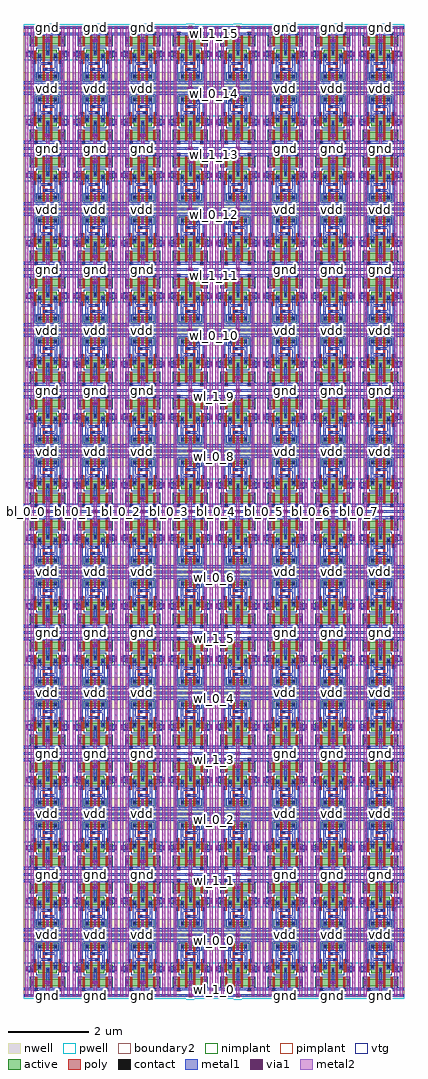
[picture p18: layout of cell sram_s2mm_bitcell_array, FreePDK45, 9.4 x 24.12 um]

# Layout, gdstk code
import gdstk
lib = gdstk.Library(unit=1e-6, precision=5e-10)
def R(c, l, rs):  # rectangles x0, y0, x1, y1
    for r in rs: c.add(gdstk.rectangle(r[:2], r[2:], *l))
def A(c, l, x, y, w, h, nx, ny, dx, dy):  # array of equal rectangles
    R(c, l, [(x+i*dx, y+j*dy, x+i*dx+w, y+j*dy+h) for i in range(nx) for j in range(ny)])
active = (1, 0)
pwell = (2, 0)
nwell = (3, 0)
nimplant = (4, 0)
pimplant = (5, 0)
vtg = (6, 0)
poly = (9, 0)
contact = (10, 0)
metal1 = (11, 0)
via1 = (12, 0)
metal2 = (13, 0)
boundary2 = (239, 0)

cell_2rw = lib.new_cell('cell_2rw')
R(cell_2rw, active, [(0.545,-0.045,0.635,0.045), (0.165,0.2325,0.22,0.4125), (0.2075,0.2325,0.2775,0.4125), (0.2075,0.2325,0.3975,0.4125), (0.3275,0.2325,0.3975,0.4125), (0.3975,0.2325,0.4675,0.4125), (0.3975,0.2325,0.5875,0.4125), (0.5175,0.2325,0.5875,0.4125), (0.5525,0.2325,0.6275,0.4125), (0.5525,0.2325,0.6275,0.4125), (0.5525,0.2325,0.7775,0.4125), (0.7075,0.2325,0.7775,0.4125), (0.7775,0.2325,0.8475,0.4125), (0.7775,0.2325,0.9675,0.4125), (0.8975,0.2325,0.9675,0.4125), (0.955,0.2325,1.01,0.4125), (0.165,0.2775,0.255,0.3675), (0.92,0.2775,1.01,0.3675), (0.5525,0.2875,0.6275,0.3625), (0.3625,0.5525,0.4375,0.7575), (0.3625,0.5525,0.4375,0.7575), (0.3625,0.5525,0.5875,0.7575), (0.5175,0.5525,0.5875,0.7575), (0.5875,0.5525,0.6575,0.7575), (0.5875,0.5525,0.8125,0.7575), (0.7375,0.5525,0.8125,0.7575), (0.7375,0.5525,0.8125,0.7575), (0.545,0.5725,0.635,0.6625), (0.1575,0.6225,0.2325,0.6975), (0.1575,0.6225,0.2325,0.7575), (0.1575,0.6225,0.2325,0.7575), (0.1575,0.6225,0.3825,0.7575), (0.3125,0.6225,0.3825,0.7575), (0.7925,0.6225,0.8625,0.7575), (0.7925,0.6225,1.0175,0.7575), (0.9425,0.6225,1.0175,0.6975), (0.9425,0.6225,1.0175,0.7575), (0.9425,0.6225,1.0175,0.7575), (0.3625,0.6825,0.4375,0.7575), (0.7375,0.6825,0.8125,0.7575), (0.3625,1.1625,0.4375,1.2375), (0.3625,1.1625,0.4375,1.2525), (0.3625,1.1625,0.4375,1.2525), (0.3625,1.1625,0.6225,1.2525), (0.5475,1.1625,0.6225,1.2375), (0.5475,1.1625,0.6225,1.2525), (0.5475,1.1625,0.6225,1.2525), (0.5875,1.1625,0.6575,1.2525), (0.5875,1.1625,0.8125,1.2525), (0.7375,1.1625,0.8125,1.2375), (0.7375,1.1625,0.8125,1.2525), (0.7375,1.1625,0.8125,1.2525), (0.54,1.45,0.63,1.54)])
R(cell_2rw, pwell, [(0.49,-0.1,0.69,0.1), (0,-0.085,1.175,0.8125), (0.1525,0.1775,0.4525,0.4675), (0.3425,0.1775,0.6425,0.4675), (0.4975,0.1775,0.8325,0.4675), (0.7225,0.1775,1.0225,0.4675), (0.3075,0.4975,0.6425,0.8125), (0.5325,0.4975,0.8675,0.8125), (0.1025,0.5675,0.4375,0.8125), (0.7375,0.5675,1.0725,0.8125)])
R(cell_2rw, nwell, [(0,1.1075,1.175,1.595), (0.3075,1.1075,0.6775,1.3075), (0.5325,1.1075,0.8675,1.3075), (0.485,1.395,0.685,1.595)])
R(cell_2rw, nimplant, [(0.165,0.2325,0.22,0.4125), (0.2075,0.2325,0.3975,0.4125), (0.3975,0.2325,0.5875,0.4125), (0.5525,0.2325,0.7775,0.4125), (0.7775,0.2325,0.9675,0.4125), (0.955,0.2325,1.01,0.4125), (0.165,0.2775,0.255,0.3675), (0.92,0.2775,1.01,0.3675), (0.3625,0.5525,0.5875,0.7575), (0.5875,0.5525,0.8125,0.7575), (0.545,0.5725,0.635,0.6625), (0.1575,0.6225,0.3825,0.7575), (0.7925,0.6225,1.0175,0.7575), (0.54,1.45,0.63,1.54)])
R(cell_2rw, pimplant, [(0.545,-0.045,0.635,0.045), (0.3625,1.1625,0.6225,1.2525), (0.5875,1.1625,0.8125,1.2525)])
R(cell_2rw, vtg, [(0.1525,0.1775,0.4525,0.4675), (0.3425,0.1775,0.6425,0.4675), (0.4975,0.1775,0.8325,0.4675), (0.7225,0.1775,1.0225,0.4675), (0.3075,0.4975,0.6425,0.8125), (0.5325,0.4975,0.8675,0.8125), (0.1025,0.5675,0.4375,0.8125), (0.7375,0.5675,1.0725,0.8125), (0.3075,1.1075,0.6775,1.3075), (0.5325,1.1075,0.8675,1.3075)])
A(cell_2rw, poly, 0.2775, 0.1775, 0.05, 0.055, 4, 2, 0.19, 0.235)
A(cell_2rw, poly, 0.2775, 0.1775, 0.05, 0.29, 4, 1, 0.19, 0)
R(cell_2rw, poly, [(0.265,0.1075,0.34,0.1825), (0.835,0.1075,0.91,0.1825), (0.6575,0.44,0.7075,0.525), (0.4675,0.45,0.5175,0.525), (0.4675,0.4975,0.5175,0.8125), (0.4675,0.4975,0.5175,0.5525), (0.6575,0.4975,0.7075,0.8125), (0.6575,0.4975,0.7075,0.5525), (0.2625,0.5675,0.3125,0.6225), (0.2625,0.5675,0.3125,0.8125), (0.8625,0.5675,0.9125,0.6225), (0.8625,0.5675,0.9125,0.8125), (0.4675,0.7225,0.5175,1.135), (0.6575,0.7225,0.7075,1.135), (0.2625,0.7575,0.3125,0.8125), (0.4675,0.7575,0.5175,0.8125), (0.6575,0.7575,0.7075,0.8125), (0.8625,0.7575,0.9125,0.8125), (0.2625,0.8,0.3125,0.8975), (0.8625,0.8,0.9125,0.8975), (0.2125,0.8225,0.2875,0.8975), (0.8875,0.8225,0.9625,0.8975), (0.5925,0.8475,0.6675,0.9225), (0.5075,0.9975,0.5825,1.0725), (0.4675,1.1075,0.5175,1.1625), (0.4675,1.1075,0.5175,1.3075), (0.6575,1.1075,0.7075,1.1625), (0.6575,1.1075,0.7075,1.3075), (0.4675,1.2525,0.5175,1.3075), (0.6575,1.2525,0.7075,1.3075)])
R(cell_2rw, contact, [(0.5575,-0.0325,0.6225,0.0325), (0.27,0.1125,0.335,0.1775), (0.84,0.1125,0.905,0.1775), (0.1775,0.29,0.2425,0.355), (0.9325,0.29,0.9975,0.355), (0.5575,0.2925,0.6225,0.3575), (0.5575,0.585,0.6225,0.65), (0.1625,0.6275,0.2275,0.6925), (0.9475,0.6275,1.0125,0.6925), (0.3675,0.6875,0.4325,0.7525), (0.7425,0.6875,0.8075,0.7525), (0.2175,0.8275,0.2825,0.8925), (0.8925,0.8275,0.9575,0.8925), (0.5975,0.8525,0.6625,0.9175), (0.5125,1.0025,0.5775,1.0675), (0.3675,1.1675,0.4325,1.2325), (0.5525,1.1675,0.6175,1.2325), (0.7425,1.1675,0.8075,1.2325), (0.5525,1.4625,0.6175,1.5275)])
R(cell_2rw, metal1, [(0,-0.0325,1.175,0.0325), (0,-0.0325,1.175,0.0325), (0.235,0.1125,0.37,0.1775), (0.805,0.1125,0.94,0.1775), (0,0.1225,1.175,0.1875), (0,0.1225,1.175,0.1875), (0.1775,0.255,0.2425,0.39), (0.1775,0.255,0.2425,0.39), (0.9325,0.255,0.9975,0.39), (0.9325,0.255,0.9975,0.39), (0.5575,0.2575,0.6225,0.615), (0.5575,0.55,0.6225,0.685), (0.0375,0.5925,0.1025,0.7275), (0.0375,0.5925,0.2275,0.7275), (0.1625,0.5925,0.2275,0.7275), (0.9475,0.5925,1.0125,0.7275), (0.9475,0.5925,1.1375,0.7275), (1.0725,0.5925,1.1375,0.7275), (0.3475,0.6525,0.4125,1.2675), (0.3675,0.6525,0.4325,0.7875), (0.7425,0.6525,0.8075,0.7875), (0.7625,0.6525,0.8275,1.2675), (0.2175,0.7925,0.2825,0.9275), (0.8925,0.7925,0.9575,0.9275), (0.3675,0.8525,0.5825,0.9175), (0.5625,0.8525,0.6975,0.9175), (0.2175,0.895,0.2825,1.385), (0.8925,0.895,0.9575,1.385), (0.4775,1.0025,0.6125,1.0675), (0.5925,1.0025,0.8275,1.0675), (0.3675,1.1325,0.4325,1.2675), (0.5525,1.1325,0.6175,1.2675), (0.5525,1.1325,0.6175,1.2675), (0.7425,1.1325,0.8075,1.2675), (0,1.3325,1.175,1.3975), (0,1.3325,1.175,1.3975), (0,1.4625,1.175,1.5275), (0,1.4625,1.175,1.5275)])
R(cell_2rw, via1, [(0.5575,-0.0325,0.6225,0.0325), (0.1775,0.29,0.2425,0.355), (0.9325,0.29,0.9975,0.355), (0.5575,0.2925,0.6225,0.3575), (0.0375,0.6275,0.1025,0.6925), (1.0725,0.6275,1.1375,0.6925), (0.5525,1.1675,0.6175,1.2325), (0.5525,1.4625,0.6175,1.5275)])
R(cell_2rw, metal2, [(0.5225,-0.035,0.6575,0.035), (0.035,-0.015,0.105,1.56), (0.035,-0.015,0.105,1.56), (0.175,-0.015,0.245,1.56), (0.175,-0.015,0.245,1.56), (0.93,-0.015,1,1.56), (0.93,-0.015,1,1.56), (1.07,-0.015,1.14,1.56), (1.07,-0.015,1.14,1.56), (0.555,0.005,0.625,0.29), (0.175,0.255,0.245,0.39), (0.93,0.255,1,0.39), (0.5225,0.29,0.6575,0.36), (0.035,0.5925,0.105,0.7275), (1.07,0.5925,1.14,0.7275), (0.55,1.1325,0.62,1.2675), (1.0875,1.1375,1.1325,1.1725), (0.9525,1.145,0.985,1.175), (0.1925,1.155,0.23,1.18), (0.0475,1.1575,0.09,1.185), (0.55,1.1575,0.62,1.5275), (0.5175,1.46,0.6525,1.53)])
R(cell_2rw, boundary2, [(0,0,1.175,1.495)])
cell_2rw.add(gdstk.Label('gnd', (0.59,0), layer=11, texttype=0))
cell_2rw.add(gdstk.Label('wl1', (0.135,0.1425), layer=11, texttype=0))
cell_2rw.add(gdstk.Label('wl0', (0.14,1.355), layer=11, texttype=0))
cell_2rw.add(gdstk.Label('vdd', (0.585,1.495), layer=11, texttype=0))
cell_2rw.add(gdstk.Label('br0', (1.1075,1.1575), layer=13, texttype=0))
cell_2rw.add(gdstk.Label('br1', (0.9675,1.1625), layer=13, texttype=0))
cell_2rw.add(gdstk.Label('bl1', (0.205,1.1725), layer=13, texttype=0))
cell_2rw.add(gdstk.Label('bl0', (0.07,1.1725), layer=13, texttype=0))
cell_2rw.add(gdstk.Label('bl0', (0.07,0.7725), layer=13, texttype=0))
cell_2rw.add(gdstk.Label('br0', (1.105,0.7725), layer=13, texttype=0))
cell_2rw.add(gdstk.Label('bl1', (0.21,0.7725), layer=13, texttype=0))
cell_2rw.add(gdstk.Label('br1', (0.965,0.7725), layer=13, texttype=0))
cell_2rw.add(gdstk.Label('wl0', (0.5875,1.365), layer=11, texttype=0))
cell_2rw.add(gdstk.Label('wl1', (0.5875,0.155), layer=11, texttype=0))
cell_2rw.add(gdstk.Label('vdd', (0.5875,1.495), layer=11, texttype=0))
cell_2rw.add(gdstk.Label('gnd', (0.5875,0), layer=11, texttype=0))

sram_s2mm_bitcell_array = lib.new_cell('sram_s2mm_bitcell_array')
A(sram_s2mm_bitcell_array, metal1, 0, -0.0325, 1.175, 0.065, 8, 17, 1.175, 1.495)
R(sram_s2mm_bitcell_array, metal1, [(0,0.1225,9.4,0.1875), (0,1.3325,9.4,1.3975), (0,1.5925,9.4,1.6575), (0,2.8025,9.4,2.8675), (0,3.1125,9.4,3.1775), (0,4.3225,9.4,4.3875), (0,4.5825,9.4,4.6475), (0,5.7925,9.4,5.8575), (0,6.1025,9.4,6.1675), (0,7.3125,9.4,7.3775), (0,7.5725,9.4,7.6375), (0,8.7825,9.4,8.8475), (0,9.0925,9.4,9.1575), (0,10.3025,9.4,10.3675), (0,10.5625,9.4,10.6275), (0,11.7725,9.4,11.8375), (0,12.0825,9.4,12.1475), (0,13.2925,9.4,13.3575), (0,13.5525,9.4,13.6175), (0,14.7625,9.4,14.8275), (0,15.0725,9.4,15.1375), (0,16.2825,9.4,16.3475), (0,16.5425,9.4,16.6075), (0,17.7525,9.4,17.8175), (0,18.0625,9.4,18.1275), (0,19.2725,9.4,19.3375), (0,19.5325,9.4,19.5975), (0,20.7425,9.4,20.8075), (0,21.0525,9.4,21.1175), (0,22.2625,9.4,22.3275), (0,22.5225,9.4,22.5875), (0,23.7325,9.4,23.7975)])
A(sram_s2mm_bitcell_array, metal2, 0.93, 0, 0.07, 23.92, 4, 1, 0.14, 0)
A(sram_s2mm_bitcell_array, metal2, 2.105, 0, 0.07, 23.92, 4, 1, 0.14, 0)
A(sram_s2mm_bitcell_array, metal2, 3.28, 0, 0.07, 23.92, 4, 1, 0.14, 0)
A(sram_s2mm_bitcell_array, metal2, 4.455, 0, 0.07, 23.92, 4, 1, 0.14, 0)
A(sram_s2mm_bitcell_array, metal2, 5.63, 0, 0.07, 23.92, 4, 1, 0.14, 0)
A(sram_s2mm_bitcell_array, metal2, 6.805, 0, 0.07, 23.92, 4, 1, 0.14, 0)
A(sram_s2mm_bitcell_array, metal2, 7.98, 0, 0.07, 23.92, 4, 1, 0.14, 0)
R(sram_s2mm_bitcell_array, metal2, [(0.035,0,0.105,23.92), (0.175,0,0.245,23.92), (9.155,0,9.225,23.92), (9.295,0,9.365,23.92)])
R(sram_s2mm_bitcell_array, boundary2, [(0,0,9.4,23.92)])
sram_s2mm_bitcell_array.add(gdstk.Reference(cell_2rw, (0,0)))
sram_s2mm_bitcell_array.add(gdstk.Reference(cell_2rw, (0,2.99), x_reflection=True))
sram_s2mm_bitcell_array.add(gdstk.Reference(cell_2rw, (0,2.99)))
sram_s2mm_bitcell_array.add(gdstk.Reference(cell_2rw, (0,5.98), x_reflection=True))
sram_s2mm_bitcell_array.add(gdstk.Reference(cell_2rw, (0,5.98)))
sram_s2mm_bitcell_array.add(gdstk.Reference(cell_2rw, (0,8.97), x_reflection=True))
sram_s2mm_bitcell_array.add(gdstk.Reference(cell_2rw, (0,8.97)))
sram_s2mm_bitcell_array.add(gdstk.Reference(cell_2rw, (0,11.96), x_reflection=True))
sram_s2mm_bitcell_array.add(gdstk.Reference(cell_2rw, (0,11.96)))
sram_s2mm_bitcell_array.add(gdstk.Reference(cell_2rw, (0,14.95), x_reflection=True))
sram_s2mm_bitcell_array.add(gdstk.Reference(cell_2rw, (0,14.95)))
sram_s2mm_bitcell_array.add(gdstk.Reference(cell_2rw, (0,17.94), x_reflection=True))
sram_s2mm_bitcell_array.add(gdstk.Reference(cell_2rw, (0,17.94)))
sram_s2mm_bitcell_array.add(gdstk.Reference(cell_2rw, (0,20.93), x_reflection=True))
sram_s2mm_bitcell_array.add(gdstk.Reference(cell_2rw, (0,20.93)))
sram_s2mm_bitcell_array.add(gdstk.Reference(cell_2rw, (0,23.92), x_reflection=True))
sram_s2mm_bitcell_array.add(gdstk.Reference(cell_2rw, (1.175,0)))
sram_s2mm_bitcell_array.add(gdstk.Reference(cell_2rw, (1.175,2.99), x_reflection=True))
sram_s2mm_bitcell_array.add(gdstk.Reference(cell_2rw, (1.175,2.99)))
sram_s2mm_bitcell_array.add(gdstk.Reference(cell_2rw, (1.175,5.98), x_reflection=True))
sram_s2mm_bitcell_array.add(gdstk.Reference(cell_2rw, (1.175,5.98)))
sram_s2mm_bitcell_array.add(gdstk.Reference(cell_2rw, (1.175,8.97), x_reflection=True))
sram_s2mm_bitcell_array.add(gdstk.Reference(cell_2rw, (1.175,8.97)))
sram_s2mm_bitcell_array.add(gdstk.Reference(cell_2rw, (1.175,11.96), x_reflection=True))
sram_s2mm_bitcell_array.add(gdstk.Reference(cell_2rw, (1.175,11.96)))
sram_s2mm_bitcell_array.add(gdstk.Reference(cell_2rw, (1.175,14.95), x_reflection=True))
sram_s2mm_bitcell_array.add(gdstk.Reference(cell_2rw, (1.175,14.95)))
sram_s2mm_bitcell_array.add(gdstk.Reference(cell_2rw, (1.175,17.94), x_reflection=True))
sram_s2mm_bitcell_array.add(gdstk.Reference(cell_2rw, (1.175,17.94)))
sram_s2mm_bitcell_array.add(gdstk.Reference(cell_2rw, (1.175,20.93), x_reflection=True))
sram_s2mm_bitcell_array.add(gdstk.Reference(cell_2rw, (1.175,20.93)))
sram_s2mm_bitcell_array.add(gdstk.Reference(cell_2rw, (1.175,23.92), x_reflection=True))
sram_s2mm_bitcell_array.add(gdstk.Reference(cell_2rw, (2.35,0)))
sram_s2mm_bitcell_array.add(gdstk.Reference(cell_2rw, (2.35,2.99), x_reflection=True))
sram_s2mm_bitcell_array.add(gdstk.Reference(cell_2rw, (2.35,2.99)))
sram_s2mm_bitcell_array.add(gdstk.Reference(cell_2rw, (2.35,5.98), x_reflection=True))
sram_s2mm_bitcell_array.add(gdstk.Reference(cell_2rw, (2.35,5.98)))
sram_s2mm_bitcell_array.add(gdstk.Reference(cell_2rw, (2.35,8.97), x_reflection=True))
sram_s2mm_bitcell_array.add(gdstk.Reference(cell_2rw, (2.35,8.97)))
sram_s2mm_bitcell_array.add(gdstk.Reference(cell_2rw, (2.35,11.96), x_reflection=True))
sram_s2mm_bitcell_array.add(gdstk.Reference(cell_2rw, (2.35,11.96)))
sram_s2mm_bitcell_array.add(gdstk.Reference(cell_2rw, (2.35,14.95), x_reflection=True))
sram_s2mm_bitcell_array.add(gdstk.Reference(cell_2rw, (2.35,14.95)))
sram_s2mm_bitcell_array.add(gdstk.Reference(cell_2rw, (2.35,17.94), x_reflection=True))
sram_s2mm_bitcell_array.add(gdstk.Reference(cell_2rw, (2.35,17.94)))
sram_s2mm_bitcell_array.add(gdstk.Reference(cell_2rw, (2.35,20.93), x_reflection=True))
sram_s2mm_bitcell_array.add(gdstk.Reference(cell_2rw, (2.35,20.93)))
sram_s2mm_bitcell_array.add(gdstk.Reference(cell_2rw, (2.35,23.92), x_reflection=True))
sram_s2mm_bitcell_array.add(gdstk.Reference(cell_2rw, (3.525,0)))
sram_s2mm_bitcell_array.add(gdstk.Reference(cell_2rw, (3.525,2.99), x_reflection=True))
sram_s2mm_bitcell_array.add(gdstk.Reference(cell_2rw, (3.525,2.99)))
sram_s2mm_bitcell_array.add(gdstk.Reference(cell_2rw, (3.525,5.98), x_reflection=True))
sram_s2mm_bitcell_array.add(gdstk.Reference(cell_2rw, (3.525,5.98)))
sram_s2mm_bitcell_array.add(gdstk.Reference(cell_2rw, (3.525,8.97), x_reflection=True))
sram_s2mm_bitcell_array.add(gdstk.Reference(cell_2rw, (3.525,8.97)))
sram_s2mm_bitcell_array.add(gdstk.Reference(cell_2rw, (3.525,11.96), x_reflection=True))
sram_s2mm_bitcell_array.add(gdstk.Reference(cell_2rw, (3.525,11.96)))
sram_s2mm_bitcell_array.add(gdstk.Reference(cell_2rw, (3.525,14.95), x_reflection=True))
sram_s2mm_bitcell_array.add(gdstk.Reference(cell_2rw, (3.525,14.95)))
sram_s2mm_bitcell_array.add(gdstk.Reference(cell_2rw, (3.525,17.94), x_reflection=True))
sram_s2mm_bitcell_array.add(gdstk.Reference(cell_2rw, (3.525,17.94)))
sram_s2mm_bitcell_array.add(gdstk.Reference(cell_2rw, (3.525,20.93), x_reflection=True))
sram_s2mm_bitcell_array.add(gdstk.Reference(cell_2rw, (3.525,20.93)))
sram_s2mm_bitcell_array.add(gdstk.Reference(cell_2rw, (3.525,23.92), x_reflection=True))
sram_s2mm_bitcell_array.add(gdstk.Reference(cell_2rw, (4.7,0)))
sram_s2mm_bitcell_array.add(gdstk.Reference(cell_2rw, (4.7,2.99), x_reflection=True))
sram_s2mm_bitcell_array.add(gdstk.Reference(cell_2rw, (4.7,2.99)))
sram_s2mm_bitcell_array.add(gdstk.Reference(cell_2rw, (4.7,5.98), x_reflection=True))
sram_s2mm_bitcell_array.add(gdstk.Reference(cell_2rw, (4.7,5.98)))
sram_s2mm_bitcell_array.add(gdstk.Reference(cell_2rw, (4.7,8.97), x_reflection=True))
sram_s2mm_bitcell_array.add(gdstk.Reference(cell_2rw, (4.7,8.97)))
sram_s2mm_bitcell_array.add(gdstk.Reference(cell_2rw, (4.7,11.96), x_reflection=True))
sram_s2mm_bitcell_array.add(gdstk.Reference(cell_2rw, (4.7,11.96)))
sram_s2mm_bitcell_array.add(gdstk.Reference(cell_2rw, (4.7,14.95), x_reflection=True))
sram_s2mm_bitcell_array.add(gdstk.Reference(cell_2rw, (4.7,14.95)))
sram_s2mm_bitcell_array.add(gdstk.Reference(cell_2rw, (4.7,17.94), x_reflection=True))
sram_s2mm_bitcell_array.add(gdstk.Reference(cell_2rw, (4.7,17.94)))
sram_s2mm_bitcell_array.add(gdstk.Reference(cell_2rw, (4.7,20.93), x_reflection=True))
sram_s2mm_bitcell_array.add(gdstk.Reference(cell_2rw, (4.7,20.93)))
sram_s2mm_bitcell_array.add(gdstk.Reference(cell_2rw, (4.7,23.92), x_reflection=True))
sram_s2mm_bitcell_array.add(gdstk.Reference(cell_2rw, (5.875,0)))
sram_s2mm_bitcell_array.add(gdstk.Reference(cell_2rw, (5.875,2.99), x_reflection=True))
sram_s2mm_bitcell_array.add(gdstk.Reference(cell_2rw, (5.875,2.99)))
sram_s2mm_bitcell_array.add(gdstk.Reference(cell_2rw, (5.875,5.98), x_reflection=True))
sram_s2mm_bitcell_array.add(gdstk.Reference(cell_2rw, (5.875,5.98)))
sram_s2mm_bitcell_array.add(gdstk.Reference(cell_2rw, (5.875,8.97), x_reflection=True))
sram_s2mm_bitcell_array.add(gdstk.Reference(cell_2rw, (5.875,8.97)))
sram_s2mm_bitcell_array.add(gdstk.Reference(cell_2rw, (5.875,11.96), x_reflection=True))
sram_s2mm_bitcell_array.add(gdstk.Reference(cell_2rw, (5.875,11.96)))
sram_s2mm_bitcell_array.add(gdstk.Reference(cell_2rw, (5.875,14.95), x_reflection=True))
sram_s2mm_bitcell_array.add(gdstk.Reference(cell_2rw, (5.875,14.95)))
sram_s2mm_bitcell_array.add(gdstk.Reference(cell_2rw, (5.875,17.94), x_reflection=True))
sram_s2mm_bitcell_array.add(gdstk.Reference(cell_2rw, (5.875,17.94)))
sram_s2mm_bitcell_array.add(gdstk.Reference(cell_2rw, (5.875,20.93), x_reflection=True))
sram_s2mm_bitcell_array.add(gdstk.Reference(cell_2rw, (5.875,20.93)))
sram_s2mm_bitcell_array.add(gdstk.Reference(cell_2rw, (5.875,23.92), x_reflection=True))
sram_s2mm_bitcell_array.add(gdstk.Reference(cell_2rw, (7.05,0)))
sram_s2mm_bitcell_array.add(gdstk.Reference(cell_2rw, (7.05,2.99), x_reflection=True))
sram_s2mm_bitcell_array.add(gdstk.Reference(cell_2rw, (7.05,2.99)))
sram_s2mm_bitcell_array.add(gdstk.Reference(cell_2rw, (7.05,5.98), x_reflection=True))
sram_s2mm_bitcell_array.add(gdstk.Reference(cell_2rw, (7.05,5.98)))
sram_s2mm_bitcell_array.add(gdstk.Reference(cell_2rw, (7.05,8.97), x_reflection=True))
sram_s2mm_bitcell_array.add(gdstk.Reference(cell_2rw, (7.05,8.97)))
sram_s2mm_bitcell_array.add(gdstk.Reference(cell_2rw, (7.05,11.96), x_reflection=True))
sram_s2mm_bitcell_array.add(gdstk.Reference(cell_2rw, (7.05,11.96)))
sram_s2mm_bitcell_array.add(gdstk.Reference(cell_2rw, (7.05,14.95), x_reflection=True))
sram_s2mm_bitcell_array.add(gdstk.Reference(cell_2rw, (7.05,14.95)))
sram_s2mm_bitcell_array.add(gdstk.Reference(cell_2rw, (7.05,17.94), x_reflection=True))
sram_s2mm_bitcell_array.add(gdstk.Reference(cell_2rw, (7.05,17.94)))
sram_s2mm_bitcell_array.add(gdstk.Reference(cell_2rw, (7.05,20.93), x_reflection=True))
sram_s2mm_bitcell_array.add(gdstk.Reference(cell_2rw, (7.05,20.93)))
sram_s2mm_bitcell_array.add(gdstk.Reference(cell_2rw, (7.05,23.92), x_reflection=True))
sram_s2mm_bitcell_array.add(gdstk.Reference(cell_2rw, (8.225,0)))
sram_s2mm_bitcell_array.add(gdstk.Reference(cell_2rw, (8.225,2.99), x_reflection=True))
sram_s2mm_bitcell_array.add(gdstk.Reference(cell_2rw, (8.225,2.99)))
sram_s2mm_bitcell_array.add(gdstk.Reference(cell_2rw, (8.225,5.98), x_reflection=True))
sram_s2mm_bitcell_array.add(gdstk.Reference(cell_2rw, (8.225,5.98)))
sram_s2mm_bitcell_array.add(gdstk.Reference(cell_2rw, (8.225,8.97), x_reflection=True))
sram_s2mm_bitcell_array.add(gdstk.Reference(cell_2rw, (8.225,8.97)))
sram_s2mm_bitcell_array.add(gdstk.Reference(cell_2rw, (8.225,11.96), x_reflection=True))
sram_s2mm_bitcell_array.add(gdstk.Reference(cell_2rw, (8.225,11.96)))
sram_s2mm_bitcell_array.add(gdstk.Reference(cell_2rw, (8.225,14.95), x_reflection=True))
sram_s2mm_bitcell_array.add(gdstk.Reference(cell_2rw, (8.225,14.95)))
sram_s2mm_bitcell_array.add(gdstk.Reference(cell_2rw, (8.225,17.94), x_reflection=True))
sram_s2mm_bitcell_array.add(gdstk.Reference(cell_2rw, (8.225,17.94)))
sram_s2mm_bitcell_array.add(gdstk.Reference(cell_2rw, (8.225,20.93), x_reflection=True))
sram_s2mm_bitcell_array.add(gdstk.Reference(cell_2rw, (8.225,20.93)))
sram_s2mm_bitcell_array.add(gdstk.Reference(cell_2rw, (8.225,23.92), x_reflection=True))
sram_s2mm_bitcell_array.add(gdstk.Label('bl_0_0', (0.07,11.96), layer=13, texttype=0))
sram_s2mm_bitcell_array.add(gdstk.Label('br_0_0', (1.105,11.96), layer=13, texttype=0))
sram_s2mm_bitcell_array.add(gdstk.Label('bl_1_0', (0.21,11.96), layer=13, texttype=0))
sram_s2mm_bitcell_array.add(gdstk.Label('br_1_0', (0.965,11.96), layer=13, texttype=0))
sram_s2mm_bitcell_array.add(gdstk.Label('bl_0_1', (1.245,11.96), layer=13, texttype=0))
sram_s2mm_bitcell_array.add(gdstk.Label('br_0_1', (2.28,11.96), layer=13, texttype=0))
sram_s2mm_bitcell_array.add(gdstk.Label('bl_1_1', (1.385,11.96), layer=13, texttype=0))
sram_s2mm_bitcell_array.add(gdstk.Label('br_1_1', (2.14,11.96), layer=13, texttype=0))
sram_s2mm_bitcell_array.add(gdstk.Label('bl_0_2', (2.42,11.96), layer=13, texttype=0))
sram_s2mm_bitcell_array.add(gdstk.Label('br_0_2', (3.455,11.96), layer=13, texttype=0))
sram_s2mm_bitcell_array.add(gdstk.Label('bl_1_2', (2.56,11.96), layer=13, texttype=0))
sram_s2mm_bitcell_array.add(gdstk.Label('br_1_2', (3.315,11.96), layer=13, texttype=0))
sram_s2mm_bitcell_array.add(gdstk.Label('bl_0_3', (3.595,11.96), layer=13, texttype=0))
sram_s2mm_bitcell_array.add(gdstk.Label('br_0_3', (4.63,11.96), layer=13, texttype=0))
sram_s2mm_bitcell_array.add(gdstk.Label('bl_1_3', (3.735,11.96), layer=13, texttype=0))
sram_s2mm_bitcell_array.add(gdstk.Label('br_1_3', (4.49,11.96), layer=13, texttype=0))
sram_s2mm_bitcell_array.add(gdstk.Label('bl_0_4', (4.77,11.96), layer=13, texttype=0))
sram_s2mm_bitcell_array.add(gdstk.Label('br_0_4', (5.805,11.96), layer=13, texttype=0))
sram_s2mm_bitcell_array.add(gdstk.Label('bl_1_4', (4.91,11.96), layer=13, texttype=0))
sram_s2mm_bitcell_array.add(gdstk.Label('br_1_4', (5.665,11.96), layer=13, texttype=0))
sram_s2mm_bitcell_array.add(gdstk.Label('bl_0_5', (5.945,11.96), layer=13, texttype=0))
sram_s2mm_bitcell_array.add(gdstk.Label('br_0_5', (6.98,11.96), layer=13, texttype=0))
sram_s2mm_bitcell_array.add(gdstk.Label('bl_1_5', (6.085,11.96), layer=13, texttype=0))
sram_s2mm_bitcell_array.add(gdstk.Label('br_1_5', (6.84,11.96), layer=13, texttype=0))
sram_s2mm_bitcell_array.add(gdstk.Label('bl_0_6', (7.12,11.96), layer=13, texttype=0))
sram_s2mm_bitcell_array.add(gdstk.Label('br_0_6', (8.155,11.96), layer=13, texttype=0))
sram_s2mm_bitcell_array.add(gdstk.Label('bl_1_6', (7.26,11.96), layer=13, texttype=0))
sram_s2mm_bitcell_array.add(gdstk.Label('br_1_6', (8.015,11.96), layer=13, texttype=0))
sram_s2mm_bitcell_array.add(gdstk.Label('bl_0_7', (8.295,11.96), layer=13, texttype=0))
sram_s2mm_bitcell_array.add(gdstk.Label('br_0_7', (9.33,11.96), layer=13, texttype=0))
sram_s2mm_bitcell_array.add(gdstk.Label('bl_1_7', (8.435,11.96), layer=13, texttype=0))
sram_s2mm_bitcell_array.add(gdstk.Label('br_1_7', (9.19,11.96), layer=13, texttype=0))
sram_s2mm_bitcell_array.add(gdstk.Label('wl_0_0', (4.7,1.365), layer=11, texttype=0))
sram_s2mm_bitcell_array.add(gdstk.Label('wl_1_0', (4.7,0.155), layer=11, texttype=0))
sram_s2mm_bitcell_array.add(gdstk.Label('wl_0_1', (4.7,1.625), layer=11, texttype=0))
sram_s2mm_bitcell_array.add(gdstk.Label('wl_1_1', (4.7,2.835), layer=11, texttype=0))
sram_s2mm_bitcell_array.add(gdstk.Label('wl_0_2', (4.7,4.355), layer=11, texttype=0))
sram_s2mm_bitcell_array.add(gdstk.Label('wl_1_2', (4.7,3.145), layer=11, texttype=0))
sram_s2mm_bitcell_array.add(gdstk.Label('wl_0_3', (4.7,4.615), layer=11, texttype=0))
sram_s2mm_bitcell_array.add(gdstk.Label('wl_1_3', (4.7,5.825), layer=11, texttype=0))
sram_s2mm_bitcell_array.add(gdstk.Label('wl_0_4', (4.7,7.345), layer=11, texttype=0))
sram_s2mm_bitcell_array.add(gdstk.Label('wl_1_4', (4.7,6.135), layer=11, texttype=0))
sram_s2mm_bitcell_array.add(gdstk.Label('wl_0_5', (4.7,7.605), layer=11, texttype=0))
sram_s2mm_bitcell_array.add(gdstk.Label('wl_1_5', (4.7,8.815), layer=11, texttype=0))
sram_s2mm_bitcell_array.add(gdstk.Label('wl_0_6', (4.7,10.335), layer=11, texttype=0))
sram_s2mm_bitcell_array.add(gdstk.Label('wl_1_6', (4.7,9.125), layer=11, texttype=0))
sram_s2mm_bitcell_array.add(gdstk.Label('wl_0_7', (4.7,10.595), layer=11, texttype=0))
sram_s2mm_bitcell_array.add(gdstk.Label('wl_1_7', (4.7,11.805), layer=11, texttype=0))
sram_s2mm_bitcell_array.add(gdstk.Label('wl_0_8', (4.7,13.325), layer=11, texttype=0))
sram_s2mm_bitcell_array.add(gdstk.Label('wl_1_8', (4.7,12.115), layer=11, texttype=0))
sram_s2mm_bitcell_array.add(gdstk.Label('wl_0_9', (4.7,13.585), layer=11, texttype=0))
sram_s2mm_bitcell_array.add(gdstk.Label('wl_1_9', (4.7,14.795), layer=11, texttype=0))
sram_s2mm_bitcell_array.add(gdstk.Label('wl_0_10', (4.7,16.315), layer=11, texttype=0))
sram_s2mm_bitcell_array.add(gdstk.Label('wl_1_10', (4.7,15.105), layer=11, texttype=0))
sram_s2mm_bitcell_array.add(gdstk.Label('wl_0_11', (4.7,16.575), layer=11, texttype=0))
sram_s2mm_bitcell_array.add(gdstk.Label('wl_1_11', (4.7,17.785), layer=11, texttype=0))
sram_s2mm_bitcell_array.add(gdstk.Label('wl_0_12', (4.7,19.305), layer=11, texttype=0))
sram_s2mm_bitcell_array.add(gdstk.Label('wl_1_12', (4.7,18.095), layer=11, texttype=0))
sram_s2mm_bitcell_array.add(gdstk.Label('wl_0_13', (4.7,19.565), layer=11, texttype=0))
sram_s2mm_bitcell_array.add(gdstk.Label('wl_1_13', (4.7,20.775), layer=11, texttype=0))
sram_s2mm_bitcell_array.add(gdstk.Label('wl_0_14', (4.7,22.295), layer=11, texttype=0))
sram_s2mm_bitcell_array.add(gdstk.Label('wl_1_14', (4.7,21.085), layer=11, texttype=0))
sram_s2mm_bitcell_array.add(gdstk.Label('wl_0_15', (4.7,22.555), layer=11, texttype=0))
sram_s2mm_bitcell_array.add(gdstk.Label('wl_1_15', (4.7,23.765), layer=11, texttype=0))
sram_s2mm_bitcell_array.add(gdstk.Label('vdd', (6.4625,1.495), layer=11, texttype=0))
sram_s2mm_bitcell_array.add(gdstk.Label('vdd', (1.7625,19.435), layer=11, texttype=0))
sram_s2mm_bitcell_array.add(gdstk.Label('vdd', (7.6375,13.455), layer=11, texttype=0))
sram_s2mm_bitcell_array.add(gdstk.Label('vdd', (8.8125,4.485), layer=11, texttype=0))
sram_s2mm_bitcell_array.add(gdstk.Label('vdd', (0.5875,13.455), layer=11, texttype=0))
sram_s2mm_bitcell_array.add(gdstk.Label('vdd', (0.5875,10.465), layer=11, texttype=0))
sram_s2mm_bitcell_array.add(gdstk.Label('vdd', (1.7625,1.495), layer=11, texttype=0))
sram_s2mm_bitcell_array.add(gdstk.Label('vdd', (7.6375,16.445), layer=11, texttype=0))
sram_s2mm_bitcell_array.add(gdstk.Label('vdd', (1.7625,10.465), layer=11, texttype=0))
sram_s2mm_bitcell_array.add(gdstk.Label('vdd', (5.2875,13.455), layer=11, texttype=0))
sram_s2mm_bitcell_array.add(gdstk.Label('vdd', (8.8125,1.495), layer=11, texttype=0))
sram_s2mm_bitcell_array.add(gdstk.Label('vdd', (0.5875,16.445), layer=11, texttype=0))
sram_s2mm_bitcell_array.add(gdstk.Label('vdd', (5.2875,7.475), layer=11, texttype=0))
sram_s2mm_bitcell_array.add(gdstk.Label('vdd', (4.1125,4.485), layer=11, texttype=0))
sram_s2mm_bitcell_array.add(gdstk.Label('vdd', (2.9375,19.435), layer=11, texttype=0))
sram_s2mm_bitcell_array.add(gdstk.Label('vdd', (5.2875,19.435), layer=11, texttype=0))
sram_s2mm_bitcell_array.add(gdstk.Label('vdd', (0.5875,4.485), layer=11, texttype=0))
sram_s2mm_bitcell_array.add(gdstk.Label('vdd', (2.9375,16.445), layer=11, texttype=0))
sram_s2mm_bitcell_array.add(gdstk.Label('vdd', (7.6375,1.495), layer=11, texttype=0))
sram_s2mm_bitcell_array.add(gdstk.Label('vdd', (4.1125,22.425), layer=11, texttype=0))
sram_s2mm_bitcell_array.add(gdstk.Label('vdd', (2.9375,4.485), layer=11, texttype=0))
sram_s2mm_bitcell_array.add(gdstk.Label('vdd', (7.6375,4.485), layer=11, texttype=0))
sram_s2mm_bitcell_array.add(gdstk.Label('vdd', (0.5875,19.435), layer=11, texttype=0))
sram_s2mm_bitcell_array.add(gdstk.Label('vdd', (0.5875,1.495), layer=11, texttype=0))
sram_s2mm_bitcell_array.add(gdstk.Label('vdd', (6.4625,22.425), layer=11, texttype=0))
sram_s2mm_bitcell_array.add(gdstk.Label('vdd', (7.6375,10.465), layer=11, texttype=0))
sram_s2mm_bitcell_array.add(gdstk.Label('vdd', (4.1125,16.445), layer=11, texttype=0))
sram_s2mm_bitcell_array.add(gdstk.Label('vdd', (6.4625,4.485), layer=11, texttype=0))
sram_s2mm_bitcell_array.add(gdstk.Label('vdd', (6.4625,10.465), layer=11, texttype=0))
sram_s2mm_bitcell_array.add(gdstk.Label('vdd', (6.4625,16.445), layer=11, texttype=0))
sram_s2mm_bitcell_array.add(gdstk.Label('vdd', (6.4625,13.455), layer=11, texttype=0))
sram_s2mm_bitcell_array.add(gdstk.Label('vdd', (1.7625,4.485), layer=11, texttype=0))
sram_s2mm_bitcell_array.add(gdstk.Label('vdd', (8.8125,13.455), layer=11, texttype=0))
sram_s2mm_bitcell_array.add(gdstk.Label('vdd', (1.7625,16.445), layer=11, texttype=0))
sram_s2mm_bitcell_array.add(gdstk.Label('vdd', (5.2875,1.495), layer=11, texttype=0))
sram_s2mm_bitcell_array.add(gdstk.Label('vdd', (4.1125,10.465), layer=11, texttype=0))
sram_s2mm_bitcell_array.add(gdstk.Label('vdd', (2.9375,10.465), layer=11, texttype=0))
sram_s2mm_bitcell_array.add(gdstk.Label('vdd', (1.7625,22.425), layer=11, texttype=0))
sram_s2mm_bitcell_array.add(gdstk.Label('vdd', (2.9375,13.455), layer=11, texttype=0))
sram_s2mm_bitcell_array.add(gdstk.Label('vdd', (4.1125,7.475), layer=11, texttype=0))
sram_s2mm_bitcell_array.add(gdstk.Label('vdd', (4.1125,13.455), layer=11, texttype=0))
sram_s2mm_bitcell_array.add(gdstk.Label('vdd', (5.2875,22.425), layer=11, texttype=0))
sram_s2mm_bitcell_array.add(gdstk.Label('vdd', (6.4625,7.475), layer=11, texttype=0))
sram_s2mm_bitcell_array.add(gdstk.Label('vdd', (8.8125,16.445), layer=11, texttype=0))
sram_s2mm_bitcell_array.add(gdstk.Label('vdd', (0.5875,7.475), layer=11, texttype=0))
sram_s2mm_bitcell_array.add(gdstk.Label('vdd', (7.6375,19.435), layer=11, texttype=0))
sram_s2mm_bitcell_array.add(gdstk.Label('vdd', (0.5875,22.425), layer=11, texttype=0))
sram_s2mm_bitcell_array.add(gdstk.Label('vdd', (5.2875,10.465), layer=11, texttype=0))
sram_s2mm_bitcell_array.add(gdstk.Label('vdd', (5.2875,4.485), layer=11, texttype=0))
sram_s2mm_bitcell_array.add(gdstk.Label('vdd', (4.1125,19.435), layer=11, texttype=0))
sram_s2mm_bitcell_array.add(gdstk.Label('vdd', (2.9375,22.425), layer=11, texttype=0))
sram_s2mm_bitcell_array.add(gdstk.Label('vdd', (6.4625,19.435), layer=11, texttype=0))
sram_s2mm_bitcell_array.add(gdstk.Label('vdd', (8.8125,7.475), layer=11, texttype=0))
sram_s2mm_bitcell_array.add(gdstk.Label('vdd', (7.6375,22.425), layer=11, texttype=0))
sram_s2mm_bitcell_array.add(gdstk.Label('vdd', (8.8125,10.465), layer=11, texttype=0))
sram_s2mm_bitcell_array.add(gdstk.Label('vdd', (2.9375,7.475), layer=11, texttype=0))
sram_s2mm_bitcell_array.add(gdstk.Label('vdd', (8.8125,19.435), layer=11, texttype=0))
sram_s2mm_bitcell_array.add(gdstk.Label('vdd', (8.8125,22.425), layer=11, texttype=0))
sram_s2mm_bitcell_array.add(gdstk.Label('vdd', (1.7625,7.475), layer=11, texttype=0))
sram_s2mm_bitcell_array.add(gdstk.Label('vdd', (4.1125,1.495), layer=11, texttype=0))
sram_s2mm_bitcell_array.add(gdstk.Label('vdd', (2.9375,1.495), layer=11, texttype=0))
sram_s2mm_bitcell_array.add(gdstk.Label('vdd', (7.6375,7.475), layer=11, texttype=0))
sram_s2mm_bitcell_array.add(gdstk.Label('vdd', (5.2875,16.445), layer=11, texttype=0))
sram_s2mm_bitcell_array.add(gdstk.Label('vdd', (1.7625,13.455), layer=11, texttype=0))
sram_s2mm_bitcell_array.add(gdstk.Label('gnd', (7.6375,5.98), layer=11, texttype=0))
sram_s2mm_bitcell_array.add(gdstk.Label('gnd', (1.7625,11.96), layer=11, texttype=0))
sram_s2mm_bitcell_array.add(gdstk.Label('gnd', (4.1125,20.93), layer=11, texttype=0))
sram_s2mm_bitcell_array.add(gdstk.Label('gnd', (0.5875,23.92), layer=11, texttype=0))
sram_s2mm_bitcell_array.add(gdstk.Label('gnd', (6.4625,2.99), layer=11, texttype=0))
sram_s2mm_bitcell_array.add(gdstk.Label('gnd', (7.6375,2.99), layer=11, texttype=0))
sram_s2mm_bitcell_array.add(gdstk.Label('gnd', (7.6375,8.97), layer=11, texttype=0))
sram_s2mm_bitcell_array.add(gdstk.Label('gnd', (4.1125,2.99), layer=11, texttype=0))
sram_s2mm_bitcell_array.add(gdstk.Label('gnd', (8.8125,2.99), layer=11, texttype=0))
sram_s2mm_bitcell_array.add(gdstk.Label('gnd', (1.7625,2.99), layer=11, texttype=0))
sram_s2mm_bitcell_array.add(gdstk.Label('gnd', (7.6375,0), layer=11, texttype=0))
sram_s2mm_bitcell_array.add(gdstk.Label('gnd', (2.9375,14.95), layer=11, texttype=0))
sram_s2mm_bitcell_array.add(gdstk.Label('gnd', (0.5875,2.99), layer=11, texttype=0))
sram_s2mm_bitcell_array.add(gdstk.Label('gnd', (2.9375,5.98), layer=11, texttype=0))
sram_s2mm_bitcell_array.add(gdstk.Label('gnd', (6.4625,8.97), layer=11, texttype=0))
sram_s2mm_bitcell_array.add(gdstk.Label('gnd', (7.6375,17.94), layer=11, texttype=0))
sram_s2mm_bitcell_array.add(gdstk.Label('gnd', (0.5875,8.97), layer=11, texttype=0))
sram_s2mm_bitcell_array.add(gdstk.Label('gnd', (0.5875,5.98), layer=11, texttype=0))
sram_s2mm_bitcell_array.add(gdstk.Label('gnd', (2.9375,20.93), layer=11, texttype=0))
sram_s2mm_bitcell_array.add(gdstk.Label('gnd', (7.6375,23.92), layer=11, texttype=0))
sram_s2mm_bitcell_array.add(gdstk.Label('gnd', (0.5875,0), layer=11, texttype=0))
sram_s2mm_bitcell_array.add(gdstk.Label('gnd', (6.4625,5.98), layer=11, texttype=0))
sram_s2mm_bitcell_array.add(gdstk.Label('gnd', (6.4625,20.93), layer=11, texttype=0))
sram_s2mm_bitcell_array.add(gdstk.Label('gnd', (8.8125,14.95), layer=11, texttype=0))
sram_s2mm_bitcell_array.add(gdstk.Label('gnd', (2.9375,11.96), layer=11, texttype=0))
sram_s2mm_bitcell_array.add(gdstk.Label('gnd', (4.1125,23.92), layer=11, texttype=0))
sram_s2mm_bitcell_array.add(gdstk.Label('gnd', (2.9375,2.99), layer=11, texttype=0))
sram_s2mm_bitcell_array.add(gdstk.Label('gnd', (5.2875,14.95), layer=11, texttype=0))
sram_s2mm_bitcell_array.add(gdstk.Label('gnd', (1.7625,8.97), layer=11, texttype=0))
sram_s2mm_bitcell_array.add(gdstk.Label('gnd', (4.1125,0), layer=11, texttype=0))
sram_s2mm_bitcell_array.add(gdstk.Label('gnd', (6.4625,23.92), layer=11, texttype=0))
sram_s2mm_bitcell_array.add(gdstk.Label('gnd', (8.8125,17.94), layer=11, texttype=0))
sram_s2mm_bitcell_array.add(gdstk.Label('gnd', (1.7625,14.95), layer=11, texttype=0))
sram_s2mm_bitcell_array.add(gdstk.Label('gnd', (1.7625,23.92), layer=11, texttype=0))
sram_s2mm_bitcell_array.add(gdstk.Label('gnd', (6.4625,14.95), layer=11, texttype=0))
sram_s2mm_bitcell_array.add(gdstk.Label('gnd', (8.8125,23.92), layer=11, texttype=0))
sram_s2mm_bitcell_array.add(gdstk.Label('gnd', (2.9375,17.94), layer=11, texttype=0))
sram_s2mm_bitcell_array.add(gdstk.Label('gnd', (1.7625,5.98), layer=11, texttype=0))
sram_s2mm_bitcell_array.add(gdstk.Label('gnd', (2.9375,23.92), layer=11, texttype=0))
sram_s2mm_bitcell_array.add(gdstk.Label('gnd', (8.8125,8.97), layer=11, texttype=0))
sram_s2mm_bitcell_array.add(gdstk.Label('gnd', (0.5875,20.93), layer=11, texttype=0))
sram_s2mm_bitcell_array.add(gdstk.Label('gnd', (5.2875,0), layer=11, texttype=0))
sram_s2mm_bitcell_array.add(gdstk.Label('gnd', (8.8125,0), layer=11, texttype=0))
sram_s2mm_bitcell_array.add(gdstk.Label('gnd', (0.5875,17.94), layer=11, texttype=0))
sram_s2mm_bitcell_array.add(gdstk.Label('gnd', (8.8125,5.98), layer=11, texttype=0))
sram_s2mm_bitcell_array.add(gdstk.Label('gnd', (7.6375,11.96), layer=11, texttype=0))
sram_s2mm_bitcell_array.add(gdstk.Label('gnd', (5.2875,8.97), layer=11, texttype=0))
sram_s2mm_bitcell_array.add(gdstk.Label('gnd', (4.1125,14.95), layer=11, texttype=0))
sram_s2mm_bitcell_array.add(gdstk.Label('gnd', (5.2875,17.94), layer=11, texttype=0))
sram_s2mm_bitcell_array.add(gdstk.Label('gnd', (4.1125,5.98), layer=11, texttype=0))
sram_s2mm_bitcell_array.add(gdstk.Label('gnd', (1.7625,20.93), layer=11, texttype=0))
sram_s2mm_bitcell_array.add(gdstk.Label('gnd', (2.9375,0), layer=11, texttype=0))
sram_s2mm_bitcell_array.add(gdstk.Label('gnd', (5.2875,2.99), layer=11, texttype=0))
sram_s2mm_bitcell_array.add(gdstk.Label('gnd', (4.1125,17.94), layer=11, texttype=0))
sram_s2mm_bitcell_array.add(gdstk.Label('gnd', (7.6375,20.93), layer=11, texttype=0))
sram_s2mm_bitcell_array.add(gdstk.Label('gnd', (1.7625,0), layer=11, texttype=0))
sram_s2mm_bitcell_array.add(gdstk.Label('gnd', (6.4625,0), layer=11, texttype=0))
sram_s2mm_bitcell_array.add(gdstk.Label('gnd', (6.4625,11.96), layer=11, texttype=0))
sram_s2mm_bitcell_array.add(gdstk.Label('gnd', (0.5875,11.96), layer=11, texttype=0))
sram_s2mm_bitcell_array.add(gdstk.Label('gnd', (6.4625,17.94), layer=11, texttype=0))
sram_s2mm_bitcell_array.add(gdstk.Label('gnd', (0.5875,14.95), layer=11, texttype=0))
sram_s2mm_bitcell_array.add(gdstk.Label('gnd', (5.2875,11.96), layer=11, texttype=0))
sram_s2mm_bitcell_array.add(gdstk.Label('gnd', (8.8125,11.96), layer=11, texttype=0))
sram_s2mm_bitcell_array.add(gdstk.Label('gnd', (8.8125,20.93), layer=11, texttype=0))
sram_s2mm_bitcell_array.add(gdstk.Label('gnd', (5.2875,23.92), layer=11, texttype=0))
sram_s2mm_bitcell_array.add(gdstk.Label('gnd', (7.6375,14.95), layer=11, texttype=0))
sram_s2mm_bitcell_array.add(gdstk.Label('gnd', (4.1125,8.97), layer=11, texttype=0))
sram_s2mm_bitcell_array.add(gdstk.Label('gnd', (5.2875,5.98), layer=11, texttype=0))
sram_s2mm_bitcell_array.add(gdstk.Label('gnd', (1.7625,17.94), layer=11, texttype=0))
sram_s2mm_bitcell_array.add(gdstk.Label('gnd', (2.9375,8.97), layer=11, texttype=0))
sram_s2mm_bitcell_array.add(gdstk.Label('gnd', (5.2875,20.93), layer=11, texttype=0))
sram_s2mm_bitcell_array.add(gdstk.Label('gnd', (4.1125,11.96), layer=11, texttype=0))

lib.write_gds('sram_s2mm_bitcell_array.gds')
